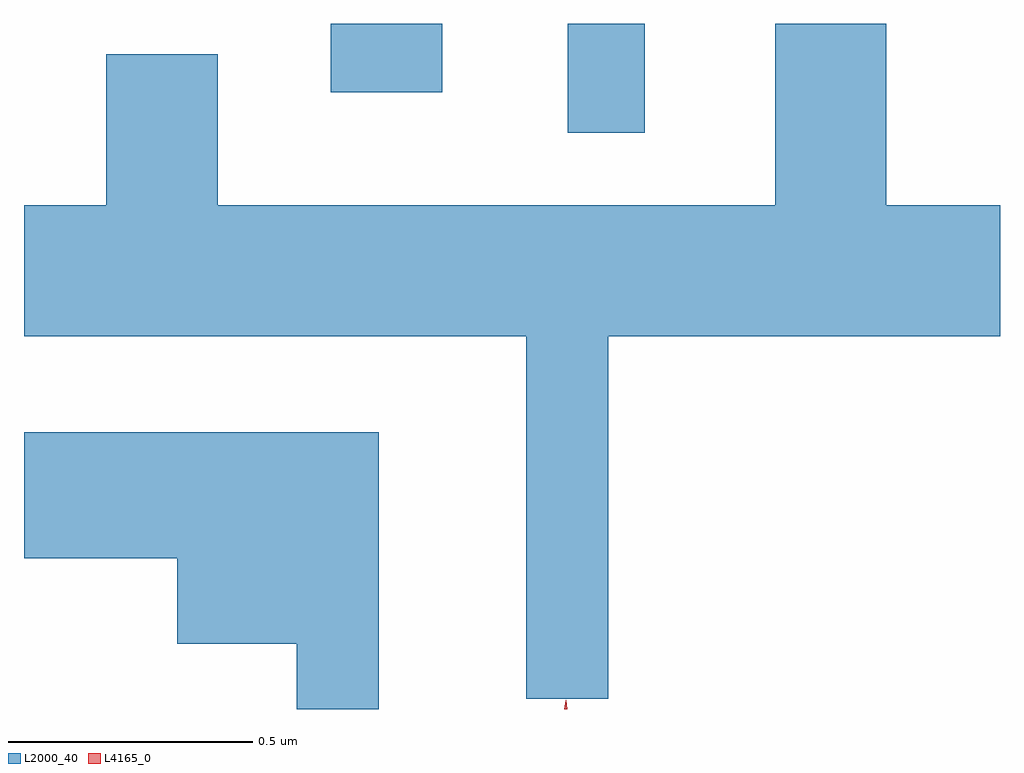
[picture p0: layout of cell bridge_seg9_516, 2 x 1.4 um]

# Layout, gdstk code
import gdstk
lib = gdstk.Library(unit=1e-6, precision=1e-09)
def R(c, l, rs):  # rectangles x0, y0, x1, y1
    for r in rs: c.add(gdstk.rectangle(r[:2], r[2:], *l))
def P(c, l, *ps):  # polygons
    for p in ps: c.add(gdstk.Polygon(p, *l))
L2000_40 = (2000, 40)
L4165_0 = (4165, 0)

bridge_seg9_516 = lib.new_cell('bridge_seg9_516')
R(bridge_seg9_516, L2000_40, [(562.786,1945.613,562.944,1945.836), (562.301,1945.696,562.529,1945.836)])
P(bridge_seg9_516, L2000_40, [(562.869,1945.196),(563.672,1945.196),(563.672,1945.464),(563.439,1945.464),(563.439,1945.836),(563.211,1945.836),(563.211,1945.464),(562.069,1945.464),(562.069,1945.774),(561.841,1945.774),(561.841,1945.464),(561.672,1945.464),(561.672,1945.196),(562.701,1945.196),(562.701,1944.453),(562.869,1944.453)],
  [(562.399,1944.999),(561.672,1944.999),(561.672,1944.741),(561.986,1944.741),(561.986,1944.566),(562.231,1944.566),(562.231,1944.432),(562.399,1944.432)])
P(bridge_seg9_516, L4165_0, [(562.779,1944.432),(562.782,1944.45),(562.783,1944.45),(562.785,1944.432)],
  [(562.78,1944.432),(562.782,1944.446),(562.783,1944.447),(562.783,1944.446),(562.785,1944.432)])

lib.write_gds('bridge_seg9_516.gds')
